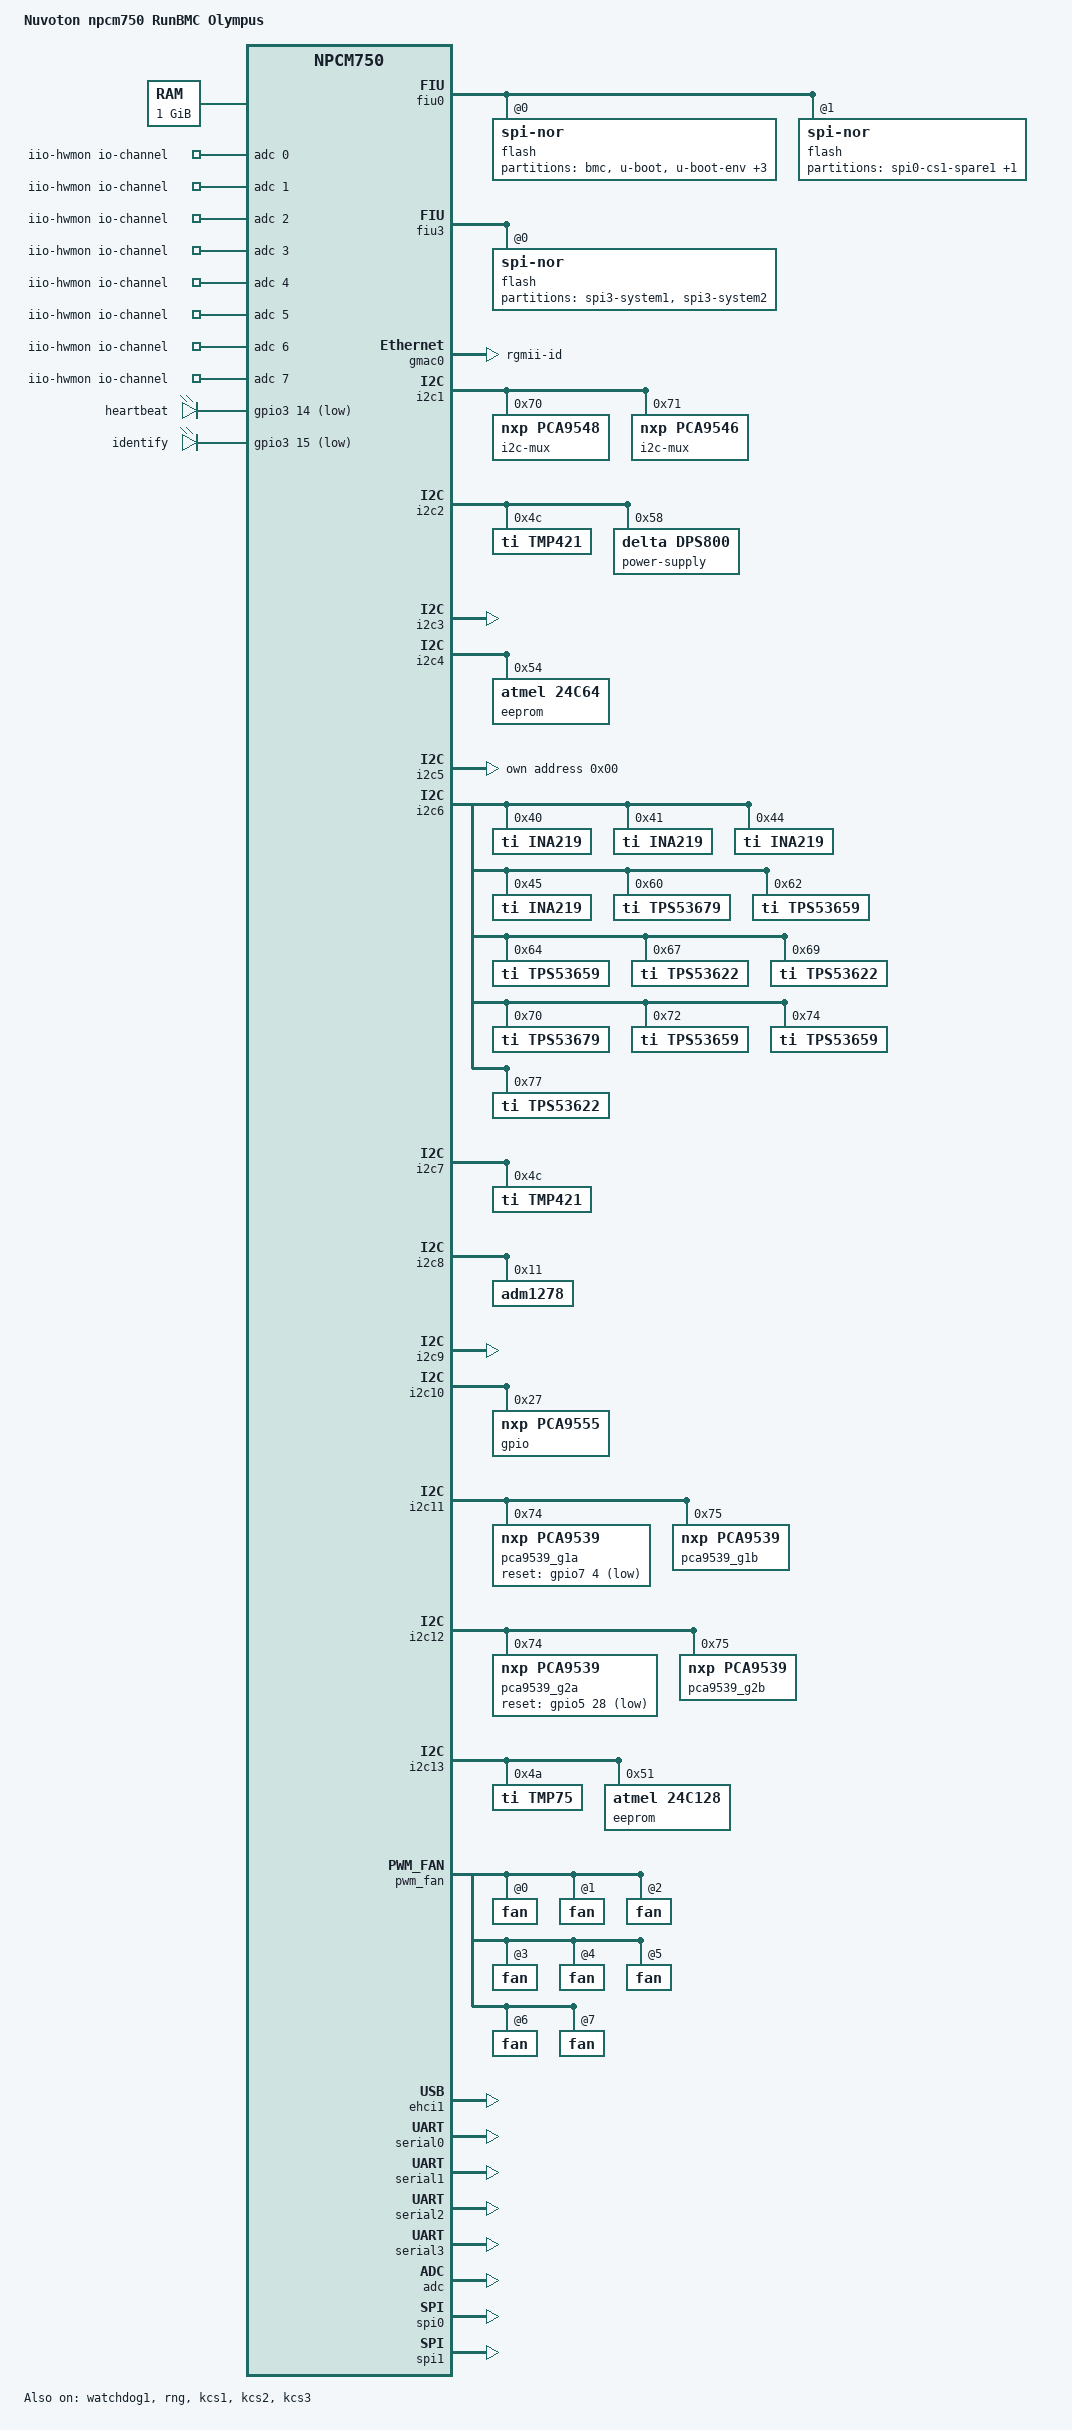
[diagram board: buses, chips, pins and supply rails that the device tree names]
// SPDX-License-Identifier: GPL-2.0
// Copyright (c) 2019 Nuvoton Technology <kwliu@nuvoton.com>
// Copyright (c) 2019 Quanta Computer Inc. <Samuel.Jiang@quantatw.com>

/dts-v1/;
#include "nuvoton-npcm750.dtsi"
#include "nuvoton-npcm750-runbmc-olympus-pincfg.dtsi"

#include <dt-bindings/i2c/i2c.h>
#include <dt-bindings/gpio/gpio.h>

/ {
	model = "Nuvoton npcm750 RunBMC Olympus";
	compatible = "nuvoton,npcm750";

	aliases {
		ethernet1 = &gmac0;
		serial0 = &serial0;
		serial1 = &serial1;
		serial2 = &serial2;
		serial3 = &serial3;
		i2c0 = &i2c0;
		i2c1 = &i2c1;
		i2c2 = &i2c2;
		i2c3 = &i2c3;
		i2c4 = &i2c4;
		i2c5 = &i2c5;
		i2c6 = &i2c6;
		i2c7 = &i2c7;
		i2c8 = &i2c8;
		i2c9 = &i2c9;
		i2c10 = &i2c10;
		i2c11 = &i2c11;
		i2c12 = &i2c12;
		i2c13 = &i2c13;
		spi0 = &spi0;
		spi1 = &spi1;
		fiu0 = &fiu0;
		fiu1 = &fiu3;
	};

	chosen {
		stdout-path = &serial3;
	};

	memory {
		reg = <0 0x40000000>;
	};

	iio-hwmon {
		compatible = "iio-hwmon";
		io-channels = <&adc 0>, <&adc 1>, <&adc 2>, <&adc 3>,
			<&adc 4>, <&adc 5>, <&adc 6>, <&adc 7>;
	};

	leds {
		compatible = "gpio-leds";
		heartbeat {
		label = "heartbeat";
			gpios = <&gpio3 14 1>;
		};

		identify {
			label = "identify";
			gpios = <&gpio3 15 1>;
		};
	};

	jtag {
		compatible = "nuvoton,npcm750-jtag";
		enable_pspi_jtag = <1>;
		pspi-index = <2>;
		tck {
			label = "tck";
			gpios = <&gpio0 19 0>; /* gpio19 */
			regbase = <0xf0010000 0x1000>;
		};

		tdi {
			label = "tdi";
			gpios = <&gpio0 18 0>; /* gpio18 */
			regbase = <0xf0010000 0x1000>;
		};

		tdo {
			label = "tdo";
			gpios = <&gpio0 17 0>; /* gpio17 */
			regbase = <0xf0010000 0x1000>;
		};
		tms {
			label = "tms";
			gpios = <&gpio0 16 0>; /* gpio16 */
			regbase = <0xf0010000 0x1000>;
		};
	};
};

&fiu0 {
	pinctrl-names = "default";
	pinctrl-0 = <&spi0cs1_pins>;
	status = "okay";

	flash@0 {
		compatible = "jedec,spi-nor";
		#address-cells = <1>;
		#size-cells = <1>;
		reg = <0>;
		spi-rx-bus-width = <2>;

		partitions {
			compatible = "fixed-partitions";
			#address-cells = <1>;
			#size-cells = <1>;
			bmc@0 {
				label = "bmc";
				reg = <0x000000 0x2000000>;
			};
			u-boot@0 {
				label = "u-boot";
				reg = <0x0000000 0x80000>;
				read-only;
			};
			u-boot-env@100000 {
				label = "u-boot-env";
				reg = <0x00100000 0x40000>;
			};
			kernel@200000 {
				label = "kernel";
				reg = <0x0200000 0x600000>;
			};
			rofs@800000 {
				label = "rofs";
				reg = <0x800000 0x1500000>;
			};
			rwfs@1d00000 {
				label = "rwfs";
				reg = <0x1d00000 0x300000>;
			};
		};
	};

	flash@1 {
		compatible = "jedec,spi-nor";
		#address-cells = <1>;
		#size-cells = <1>;
		reg = <1>;
		npcm,fiu-rx-bus-width = <2>;

		partitions {
			compatible = "fixed-partitions";
			#address-cells = <1>;
			#size-cells = <1>;
			spare1@0 {
				label = "spi0-cs1-spare1";
				reg = <0x0 0x800000>;
			};
			spare2@800000 {
				label = "spi0-cs1-spare2";
				reg = <0x800000 0x0>;
			};
		};
	};
};

&fiu3 {
	pinctrl-0 = <&spi3_pins>;
	status = "okay";

	flash@0 {
		compatible = "jedec,spi-nor";
		#address-cells = <1>;
		#size-cells = <1>;
		reg = <0>;
		spi-rx-bus-width = <2>;

		partitions {
			compatible = "fixed-partitions";
			#address-cells = <1>;
			#size-cells = <1>;
			system1@0 {
				label = "spi3-system1";
				reg = <0x0 0x800000>;
			};
			system2@800000 {
				label = "spi3-system2";
				reg = <0x800000 0x0>;
			};
		};
	};
};

&gcr {
	mux-controller {
		compatible = "mmio-mux";
		#mux-control-cells = <1>;

		mux-reg-masks = <0x38 0x07>;
		idle-states = <6>;
	};
};

&gmac0 {
	phy-mode = "rgmii-id";
	snps,eee-force-disable;
	status = "okay";
};

&i2c1 {
	status = "okay";

	i2c-mux@70 {
		compatible = "nxp,pca9548";
		#address-cells = <1>;
		#size-cells = <0>;
		reg = <0x70>;
		i2c-mux-idle-disconnect;

		i2c_slot1a: i2c@0 {
			#address-cells = <1>;
			#size-cells = <0>;
			reg = <0>;
		};

		i2c_slot1b: i2c@1 {
			#address-cells = <1>;
			#size-cells = <0>;
			reg = <1>;
		};

		i2c_slot2a: i2c@2 {
			#address-cells = <1>;
			#size-cells = <0>;
			reg = <2>;
		};

		i2c_slot2b: i2c@3 {
			#address-cells = <1>;
			#size-cells = <0>;
			reg = <3>;
		};

		i2c_slot3: i2c@4 {
			#address-cells = <1>;
			#size-cells = <0>;
			reg = <4>;
		};

		i2c_slot4: i2c@5 {
			#address-cells = <1>;
			#size-cells = <0>;
			reg = <5>;
		};

		i2c_slot5: i2c@6 {
			#address-cells = <1>;
			#size-cells = <0>;
			reg = <6>;
		};
	};

	i2c-mux@71 {
		compatible = "nxp,pca9546";
		reg = <0x71>;
		#address-cells = <1>;
		#size-cells = <0>;
		i2c-mux-idle-disconnect;

		i2c_m2_s1: i2c@0 {
			#address-cells = <1>;
			#size-cells = <0>;
			reg = <0>;
		};

		i2c_m2_s2: i2c@1 {
			#address-cells = <1>;
			#size-cells = <0>;
			reg = <1>;
		};
		i2c_m2_s3: i2c@2 {
			#address-cells = <1>;
			#size-cells = <0>;
			reg = <2>;
		};

		i2c_m2_s4: i2c@3 {
			#address-cells = <1>;
			#size-cells = <0>;
			reg = <3>;
		};
	};
};

&i2c2 {
	status = "okay";

	tmp421@4c {
		compatible = "ti,tmp421";
		reg = <0x4c>;
	};

	power-supply@58 {
		compatible = "delta,dps800";
		reg = <0x58>;
	};
};

&i2c3 {
	status = "okay";
};

&i2c4 {
	status = "okay";

	eeprom@54 {
		compatible = "atmel,24c64";
		reg = <0x54>;
	};
};

&i2c5 {
	status = "okay";

	i2c-slave-mqueue@10 {
		compatible = "i2c-slave-mqueue";
		reg = <(I2C_OWN_SLAVE_ADDRESS | 0x10)>;
	};
};

&i2c6 {
	status = "okay";

	ina219@40 {
		compatible = "ti,ina219";
		reg = <0x40>;
	};
	ina219@41 {
		compatible = "ti,ina219";
		reg = <0x41>;
	};
	ina219@44 {
		compatible = "ti,ina219";
		reg = <0x44>;
	};
	ina219@45 {
		compatible = "ti,ina219";
		reg = <0x45>;
	};
	tps53679@60 {
		compatible = "ti,tps53679";
		reg = <0x60>;
	};
	tps53659@62 {
		compatible = "ti,tps53659";
		reg = <0x62>;
	};
	tps53659@64 {
		compatible = "ti,tps53659";
		reg = <0x64>;
	};
	tps53622@67 {
		compatible = "ti,tps53622";
		reg = <0x67>;
	};
	tps53622@69 {
		compatible = "ti,tps53622";
		reg = <0x69>;
	};
	tps53679@70 {
		compatible = "ti,tps53679";
		reg = <0x70>;
	};
	tps53659@72 {
		compatible = "ti,tps53659";
		reg = <0x72>;
	};
	tps53659@74 {
		compatible = "ti,tps53659";
		reg = <0x74>;
	};
	tps53622@77 {
		compatible = "ti,tps53622";
		reg = <0x77>;
	};
};

&i2c7 {
	status = "okay";

	tmp421@4c {
		compatible = "ti,tmp421";
		reg = <0x4c>;
	};
};

&i2c8 {
	status = "okay";

	adm1278@11 {
		compatible = "adm1278";
		reg = <0x11>;
		Rsense = <500>;
	};
};

&i2c9 {
	status = "okay";
};

&i2c10 {
	status = "okay";

	gpio: pca9555@27 {
		compatible = "nxp,pca9555";
		reg = <0x27>;

		gpio-controller;
		#gpio-cells = <2>;
	};
};

&i2c11 {
	status = "okay";

	pca9539_g1a: pca9539-g1a@74 {
		compatible = "nxp,pca9539";
		reg = <0x74>;
		gpio-controller;
		#gpio-cells = <2>;
		reset-gpios = <&gpio7 4 GPIO_ACTIVE_LOW>;
		g1a-p0-0-hog {
			gpio-hog;
			gpios = <0 0>;
			output-high;
			line-name = "TPM_BMC_ALERT_N";
		};
		g1a-p0-1-hog {
			gpio-hog;
			gpios = <1 0>;
			input;
			line-name = "FM_BIOS_TOP_SWAP";
		};
		g1a-p0-2-hog {
			gpio-hog;
			gpios = <2 0>;
			input;
			line-name = "FM_BIOS_PREFRB2_GOOD";
		};
		g1a-p0-3-hog {
			gpio-hog;
			gpios = <3 0>;
			input;
			line-name = "BMC_SATAXPCIE_0TO3_SEL";
		};
		g1a-p0-4-hog {
			gpio-hog;
			gpios = <4 0>;
			input;
			line-name = "BMC_SATAXPCIE_4TO7_SEL";
		};
		g1a-p0-5-hog {
			gpio-hog;
			gpios = <5 0>;
			output-low;
			line-name = "FM_UV_ADR_TRIGGER_EN_N";
		};
		g1a-p0-6-hog {
			gpio-hog;
			gpios = <6 0>;
			input;
			line-name = "RM_THROTTLE_EN_N";
		};
		g1a-p1-0-hog {
			gpio-hog;
			gpios = <8 0>;
			input;
			line-name = "FM_BMC_TPM_PRES_N";
		};
		g1a-p1-1-hog {
			gpio-hog;
			gpios = <9 0>;
			input;
			line-name = "FM_CPU0_SKTOCC_LVT3_N";
		};
		g1a-p1-2-hog {
			gpio-hog;
			gpios = <10 0>;
			input;
			line-name = "FM_CPU1_SKTOCC_LVT3_N";
		};
		g1a-p1-3-hog {
			gpio-hog;
			gpios = <11 0>;
			input;
			line-name = "PSU1_ALERT_N";
		};
		g1a-p1-4-hog {
			gpio-hog;
			gpios = <12 0>;
			input;
			line-name = "PSU2_ALERT_N";
		};
		g1a-p1-5-hog {
			gpio-hog;
			gpios = <13 0>;
			input;
			line-name = "H_CPU0_FAST_WAKE_LVT3_N";
		};
		g1a-p1-6-hog {
			gpio-hog;
			gpios = <14 0>;
			output-high;
			line-name = "I2C_MUX1_RESET_N";
		};
		g1a-p1-7-hog {
			gpio-hog;
			gpios = <15 0>;
			input;
			line-name = "FM_CPU_CATERR_LVT3_N";
		};
	};

	pca9539_g1b: pca9539-g1b@75 {
		compatible = "nxp,pca9539";
		reg = <0x75>;
		gpio-controller;
		#gpio-cells = <2>;
		g1b-p0-0-hog {
			gpio-hog;
			gpios = <0 0>;
			input;
			line-name = "PVDDQ_ABC_PINALERT_N";
		};
		g1b-p0-1-hog {
			gpio-hog;
			gpios = <1 0>;
			input;
			line-name = "PVDDQ_DEF_PINALERT_N";
		};
		g1b-p0-2-hog {
			gpio-hog;
			gpios = <2 0>;
			input;
			line-name = "PVDDQ_GHJ_PINALERT_N";
		};
		g1b-p0-3-hog {
			gpio-hog;
			gpios = <3 0>;
			input;
			line-name = "PVDDQ_KLM_PINALERT_N";
		};
		g1b-p0-5-hog {
			gpio-hog;
			gpios = <5 0>;
			input;
			line-name = "FM_BOARD_REV_ID0";
		};
		g1b-p0-6-hog {
			gpio-hog;
			gpios = <6 0>;
			input;
			line-name = "FM_BOARD_REV_ID1";
		};
		g1b-p0-7-hog {
			gpio-hog;
			gpios = <7 0>;
			input;
			line-name = "FM_BOARD_REV_ID2";
		};
		g1b-p1-0-hog {
			gpio-hog;
			gpios = <8 0>;
			input;
			line-name = "FM_OC_DETECT_EN_N";
		};
		g1b-p1-1-hog {
			gpio-hog;
			gpios = <9 0>;
			input;
			line-name = "FM_FLASH_DESC_OVERRIDE";
		};
		g1b-p1-2-hog {
			gpio-hog;
			gpios = <10 0>;
			output-low;
			line-name = "FP_PWR_ID_LED_N";
		};
		g1b-p1-3-hog {
			gpio-hog;
			gpios = <11 0>;
			output-low;
			line-name = "BMC_LED_PWR_GRN";
		};
		g1b-p1-4-hog {
			gpio-hog;
			gpios = <12 0>;
			output-low;
			line-name = "BMC_LED_PWR_AMBER";
		};
		g1b-p1-5-hog {
			gpio-hog;
			gpios = <13 0>;
			output-high;
			line-name = "FM_BMC_FAULT_LED_N";
		};
		g1b-p1-6-hog {
			gpio-hog;
			gpios = <14 0>;
			output-high;
			line-name = "FM_CPLD_BMC_PWRDN_N";
		};
		g1b-p1-7-hog {
			gpio-hog;
			gpios = <15 0>;
			output-high;
			line-name = "BMC_LED_CATERR_N";
		};
	};
};

&i2c12 {
	status = "okay";

	pca9539_g2a: pca9539-g2a@74 {
		compatible = "nxp,pca9539";
		reg = <0x74>;
		gpio-controller;
		#gpio-cells = <2>;
		reset-gpios = <&gpio5 28 GPIO_ACTIVE_LOW>;
		g2a-p0-0-hog {
			gpio-hog;
			gpios = <0 0>;
			output-high;
			line-name = "BMC_PON_RST_REQ_N";
		};
		g2a-p0-1-hog {
			gpio-hog;
			gpios = <1 0>;
			output-high;
			line-name = "BMC_RST_IND_REQ_N";
		};
		g2a-p0-2-hog {
			gpio-hog;
			gpios = <2 0>;
			input;
			line-name = "RST_BMC_RTCRST";
		};
		g2a-p0-3-hog {
			gpio-hog;
			gpios = <3 0>;
			output-high;
			line-name = "FM_BMC_PWRBTN_OUT_N";
		};
		g2a-p0-4-hog {
			gpio-hog;
			gpios = <4 0>;
			output-high;
			line-name = "RST_BMC_SYSRST_BTN_OUT_N";
		};
		g2a-p0-5-hog {
			gpio-hog;
			gpios = <5 0>;
			output-high;
			line-name = "FM_BATTERY_SENSE_EN_N";
		};
		g2a-p0-6-hog {
			gpio-hog;
			gpios = <6 0>;
			output-high;
			line-name = "FM_BMC_READY_N";
		};
		g2a-p0-7-hog {
			gpio-hog;
			gpios = <7 0>;
			input;
			line-name = "IRQ_BMC_PCH_SMI_LPC_N";
		};
		g2a-p1-0-hog {
			gpio-hog;
			gpios = <8 0>;
			input;
			line-name = "FM_SLOT4_CFG0";
		};
		g2a-p1-1-hog {
			gpio-hog;
			gpios = <9 0>;
			input;
			line-name = "FM_SLOT4_CFG1";
		};
		g2a-p1-2-hog {
			gpio-hog;
			gpios = <10 0>;
			input;
			line-name = "FM_NVDIMM_EVENT_N";
		};
		g2a-p1-3-hog {
			gpio-hog;
			gpios = <11 0>;
			input;
			line-name = "PSU1_BLADE_EN_N";
		};
		g2a-p1-4-hog {
			gpio-hog;
			gpios = <12 0>;
			input;
			line-name = "BMC_PCH_FNM";
		};
		g2a-p1-5-hog {
			gpio-hog;
			gpios = <13 0>;
			input;
			line-name = "FM_SOL_UART_CH_SEL";
		};
		g2a-p1-6-hog {
			gpio-hog;
			gpios = <14 0>;
			input;
			line-name = "FM_BIOS_POST_CMPLT_N";
		};
	};

	pca9539_g2b: pca9539-g2b@75 {
		compatible = "nxp,pca9539";
		reg = <0x75>;
		gpio-controller;
		#gpio-cells = <2>;
		g2b-p0-0-hog {
			gpio-hog;
			gpios = <0 0>;
			input;
			line-name = "FM_CPU_MSMI_LVT3_N";
		};
		g2b-p0-1-hog {
			gpio-hog;
			gpios = <1 0>;
			input;
			line-name = "FM_BIOS_MRC_DEBUG_MSG_DIS";
		};
		g2b-p0-2-hog {
			gpio-hog;
			gpios = <2 0>;
			input;
			line-name = "FM_CPU1_DISABLE_BMC_N";
		};
		g2b-p0-3-hog {
			gpio-hog;
			gpios = <3 0>;
			output-low;
			line-name = "BMC_JTAG_SELECT";
		};
		g2b-p0-4-hog {
			gpio-hog;
			gpios = <4 0>;
			output-high;
			line-name = "PECI_MUX_SELECT";
		};
		g2b-p0-5-hog {
			gpio-hog;
			gpios = <5 0>;
			output-high;
			line-name = "I2C_MUX2_RESET_N";
		};
		g2b-p0-6-hog {
			gpio-hog;
			gpios = <6 0>;
			input;
			line-name = "FM_BMC_CPLD_PSU2_ON";
		};
		g2b-p0-7-hog {
			gpio-hog;
			gpios = <7 0>;
			output-high;
			line-name = "PSU2_ALERT_EN_N";
		};
		g2b-p1-0-hog {
			gpio-hog;
			gpios = <8 0>;
			output-high;
			line-name = "FM_CPU_BMC_INIT";
		};
		g2b-p1-1-hog {
			gpio-hog;
			gpios = <9 0>;
			output-high;
			line-name = "IRQ_BMC_PCH_SCI_LPC_N";
		};
		g2b-p1-2-hog {
			gpio-hog;
			gpios = <10 0>;
			output-low;
			line-name = "PMB_ALERT_EN_N";
		};
		g2b-p1-3-hog {
			gpio-hog;
			gpios = <11 0>;
			output-high;
			line-name = "FM_FAST_PROCHOT_EN_N";
		};
		g2b-p1-4-hog {
			gpio-hog;
			gpios = <12 0>;
			output-high;
			line-name = "BMC_NVDIMM_PRSNT_N";
		};
		g2b-p1-5-hog {
			gpio-hog;
			gpios = <13 0>;
			output-low;
			line-name = "FM_BACKUP_BIOS_SEL_H_BMC";
		};
		g2b-p1-6-hog {
			gpio-hog;
			gpios = <14 0>;
			output-high;
			line-name = "FM_PWRBRK_N";
		};
	};
};

&i2c13 {
	status = "okay";

	tmp75@4a {
		compatible = "ti,tmp75";
		reg = <0x4a>;
		status = "okay";
	};
	eeprom@51 {
		compatible = "atmel,24c128";
		reg = <0x51>;
		pagesize = <64>;
		status = "okay";
	};
};

&pwm_fan {
	pinctrl-names = "default";
	pinctrl-0 = <   &pwm0_pins &pwm1_pins
			&fanin0_pins &fanin1_pins
			&fanin2_pins &fanin3_pins
			&fanin4_pins &fanin5_pins
			&fanin6_pins &fanin7_pins
			&fanin8_pins &fanin9_pins
			&fanin10_pins &fanin11_pins>;
	status = "okay";

	fan@0 {
		reg = <0x00>;
		fan-tach-ch = /bits/ 8 <0x00 0x01>;
		cooling-levels = <127 255>;
	};
	fan@1 {
		reg = <0x01>;
		fan-tach-ch = /bits/ 8 <0x02 0x03>;
		cooling-levels = /bits/ 8 <127 255>;
	};
	fan@2 {
		reg = <0x02>;
		fan-tach-ch = /bits/ 8 <0x04 0x05>;
		cooling-levels = /bits/ 8 <127 255>;
	};
	fan@3 {
		reg = <0x03>;
		fan-tach-ch = /bits/ 8 <0x06 0x07>;
		cooling-levels = /bits/ 8 <127 255>;
	};
	fan@4 {
		reg = <0x04>;
		fan-tach-ch = /bits/ 8 <0x08 0x09>;
		cooling-levels = /bits/ 8 <127 255>;
	};
	fan@5 {
		reg = <0x05>;
		fan-tach-ch = /bits/ 8 <0x0A 0x0B>;
		cooling-levels = /bits/ 8 <127 255>;
	};
	fan@6 {
		reg = <0x06>;
		fan-tach-ch = /bits/ 8 <0x0C 0x0D>;
		cooling-levels = /bits/ 8 <127 255>;
	};
	fan@7 {
		reg = <0x07>;
		fan-tach-ch = /bits/ 8 <0x0E 0x0F>;
		cooling-levels = /bits/ 8 <127 255>;
	};
};

&ehci1 {
	status = "okay";
};

&watchdog1 {
	status = "okay";
};

&rng {
	status = "okay";
};

&serial0 {
	status = "okay";
};

&serial1 {
	status = "okay";
};

&serial2 {
	status = "okay";
};

&serial3 {
	status = "okay";
};

&adc {
	#io-channel-cells = <1>;
	status = "okay";
};

&kcs1 {
	status = "okay";
};

&kcs2 {
	status = "okay";
};

&kcs3 {
	status = "okay";
};

&spi0 {
	cs-gpios = <&gpio6 11 GPIO_ACTIVE_LOW>;
	status = "okay";
};

&spi1 {
	status = "okay";
};

&pinctrl {
	pinctrl-names = "default";
	pinctrl-0 = <
			/******* RunBMC inside Module pins *******/
			&gpio0ol_pins
			&gpio1ol_pins
			&gpio2ol_pins
			&gpio3ol_pins
			&gpio8o_pins
			&gpio9ol_pins
			&gpio12ol_pins
			&gpio13ol_pins
			&gpio14ol_pins
			&gpio15ol_pins
			&gpio37o_pins
			&gpio38_pins
			&gpio39_pins
			&gpio94ol_pins
			&gpio108ol_pins
			&gpio109ol_pins
			&gpio111ol_pins
			&gpio112ol_pins
			&gpio113ol_pins
			&gpio208_pins
			&gpio209ol_pins
			&gpio210ol_pins
			&gpio211ol_pins
			&gpio212ol_pins
			&gpio213ol_pins
			&gpio214ol_pins
			&gpio215ol_pins
			&gpio216ol_pins
			&gpio217ol_pins
			/******* RunBMC outside Connector pins *******/
			&gpio5_pins
			&gpio6_pins
			&gpio7_pins
			&gpio10_pins
			&gpio11_pins
			&gpio20_pins
			&gpio21_pins
			&gpio22o_pins
			&gpio23_pins
			&gpio24_pins
			&gpio25_pins
			&gpio30_pins
			&gpio31_pins
			&gpio40o_pins
			&gpio59_pins
			&gpio76_pins
			&gpio77_pins
			&gpio78o_pins
			&gpio79_pins
			&gpio82_pins
			&gpio83_pins
			&gpio84_pins
			&gpio85o_pins
			&gpio86ol_pins
			&gpio87_pins
			&gpio88_pins
			&gpio89_pins
			&gpio90_pins
			&gpio93_pins
			&gpio114o_pins
			&gpio115_pins
			&gpio120_pins
			&gpio121_pins
			&gpio122_pins
			&gpio123_pins
			&gpio124_pins
			&gpio125_pins
			&gpio126_pins
			&gpio127o_pins
			&gpio136_pins
			&gpio137_pins
			&gpio138_pins
			&gpio139_pins
			&gpio140_pins
			&gpio141_pins
			&gpio142_pins
			&gpio143_pins
			&gpio144_pins
			&gpio146_pins
			&gpio145_pins
			&gpio147_pins
			&gpio153o_pins
			&gpio155_pins
			&gpio160o_pins
			&gpio169o_pins
			&gpio188o_pins
			&gpio189_pins
			&gpio196_pins
			&gpio197_pins
			&gpio198o_pins
			&gpio199o_pins
			&gpio200_pins
			&gpio202_pins
			&gpio203o_pins
			&gpio224_pins
			&gpio225ol_pins
			&gpio226ol_pins
			&gpio227ol_pins
			&gpio228o_pins
			&gpio229o_pins
			&gpio230_pins
			&gpio231o_pins
			&ddc_pins
			&wdog1_pins
			&wdog2_pins
			>;
};
